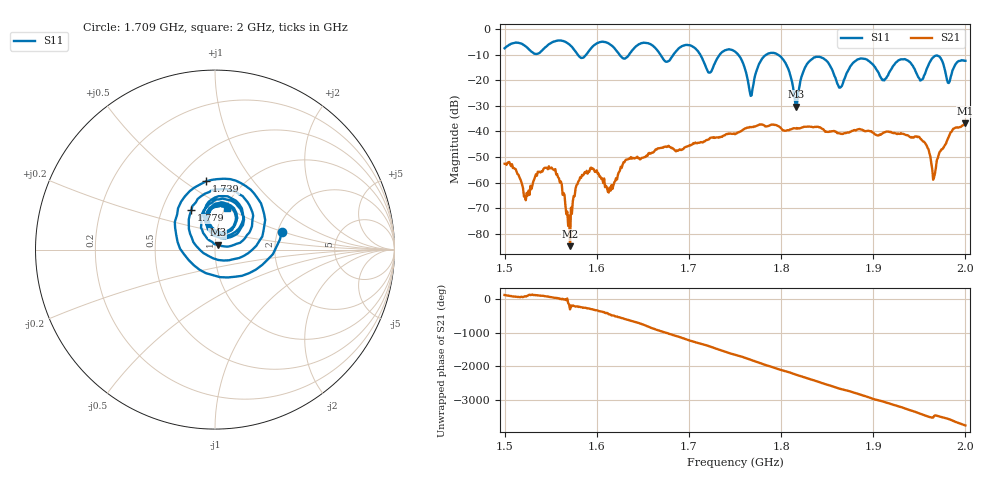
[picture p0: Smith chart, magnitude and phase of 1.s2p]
! NanoVNA-App by SYSJOINT et al v1.1.209 (+OD18)
! Date: 2026-01-21 14:19:33
! Start: 1,5GHz Stop: 2GHz Points: 501
! S-Parameter data: F S11 S21 S12 S22
# Hz S RI R 50
!  Frequency  S11_Real  S11_Imag  S21_Real  S21_Imag  S12_Real  S12_Imag  S22_Real  S22_Imag
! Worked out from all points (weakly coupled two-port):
!   501 points, 1.5 GHz to 2 GHz, reference 50 ohm
!   highest |S21| = -36.81 dB at 2 GHz (marker M1); lowest = -84.8 dB at 1.571 GHz (marker M2)
!   lowest |S11| = -30.3 dB at 1.816 GHz (marker M3), VSWR 1.06, Z = 51.4 + j2.75 ohm
!   |S11| at or under -10 dB: 1.712 GHz to 1.733 GHz (21.11 MHz wide, 1.23 % of centre); 1.753 GHz to 1.784 GHz (30.46 MHz wide, 1.72 % of centre); 1.797 GHz to end of sweep (the widest 3 of 6)
!   S12 and S22 are empty: the file has one direction only
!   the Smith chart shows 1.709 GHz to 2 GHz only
!   S11 on the Smith chart (normalised r, x): 1.709 GHz: 2.11, +0.48; 1.739 GHz: 0.68, +0.61; 1.779 GHz: 0.70, +0.33; 2 GHz: 1.02, +0.50
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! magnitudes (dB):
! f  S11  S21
! 1.5 GHz  -7.5  -52.6
! 1.523 GHz  -6.8  -66.8
! 1.553 GHz  -5.0  -54.9
! 1.571 GHz  -6.3  -84.8
! 1.584 GHz  -11.3  -56.9
! 1.613 GHz  -5.6  -63.8
! 1.667 GHz  -8.9  -46.5
! 1.709 GHz  -8.3  -44.6
! 1.739 GHz  -8.3  -41.5
! 1.75 GHz  -8.8  -41.1
! 1.767 GHz  -26.1  -38.3
! 1.779 GHz  -11.9  -37.2
! 1.801 GHz  -11.4  -39.2
! 1.816 GHz  -30.3  -38.8
! 1.834 GHz  -11.7  -38.2
! 1.864 GHz  -22.9  -40.8
! 1.885 GHz  -11.7  -39.0
! 1.917 GHz  -17.2  -40.1
! 1.951 GHz  -20.1  -42.7
! 1.966 GHz  -10.7  -57.9
! 1.982 GHz  -21.1  -42.0
! 2 GHz  -12.4  -36.8
